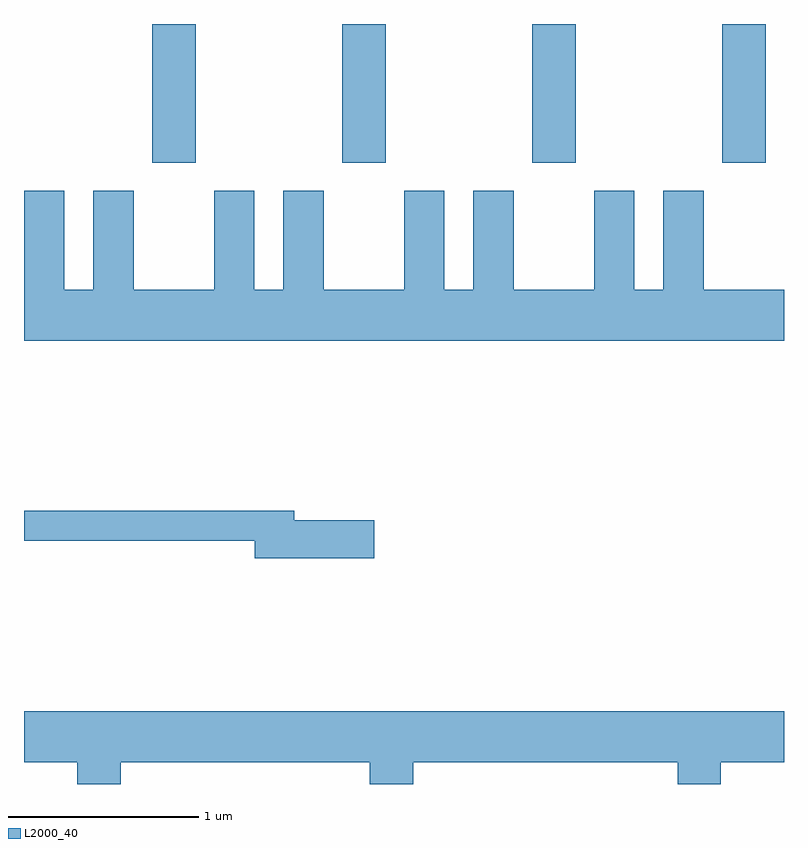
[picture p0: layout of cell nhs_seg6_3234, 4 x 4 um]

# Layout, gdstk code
import gdstk
lib = gdstk.Library(unit=1e-6, precision=1e-09)
def R(c, l, rs):  # rectangles x0, y0, x1, y1
    for r in rs: c.add(gdstk.rectangle(r[:2], r[2:], *l))
def A(c, l, x, y, w, h, nx, ny, dx, dy):  # array of equal rectangles
    R(c, l, [(x+i*dx, y+j*dy, x+i*dx+w, y+j*dy+h) for i in range(nx) for j in range(ny)])
def P(c, l, *ps):  # polygons
    for p in ps: c.add(gdstk.Polygon(p, *l))
L2000_40 = (2000, 40)

nhs_seg6_3234 = lib.new_cell('nhs_seg6_3234')
A(nhs_seg6_3234, L2000_40, 284.286, 1535.431, 0.228, 0.731, 4, 1, 1, 0)
P(nhs_seg6_3234, L2000_40, [(287.611,1534.764),(287.189,1534.764),(287.189,1535.284),(286.976,1535.284),(286.976,1534.764),(286.824,1534.764),(286.824,1535.284),(286.611,1535.284),(286.611,1534.764),(286.189,1534.764),(286.189,1535.284),(285.976,1535.284),(285.976,1534.764),(285.824,1534.764),(285.824,1535.284),(285.611,1535.284),(285.611,1534.764),(285.189,1534.764),(285.189,1535.284),(284.976,1535.284),(284.976,1534.764),(284.824,1534.764),(284.824,1535.284),(284.611,1535.284),(284.611,1534.764),(284.189,1534.764),(284.189,1535.284),(283.976,1535.284),(283.976,1534.764),(283.824,1534.764),(283.824,1535.284),(283.611,1535.284),(283.611,1534.496),(287.611,1534.496)],
  [(285.454,1533.549),(285.034,1533.549),(285.034,1533.599),(283.611,1533.599),(283.611,1533.441),(284.826,1533.441),(284.826,1533.351),(285.454,1533.351)],
  [(284.119,1532.276),(285.431,1532.276),(285.431,1532.162),(285.659,1532.162),(285.659,1532.276),(287.051,1532.276),(287.051,1532.162),(287.279,1532.162),(287.279,1532.276),(287.611,1532.276),(287.611,1532.544),(283.611,1532.544),(283.611,1532.276),(283.891,1532.276),(283.891,1532.162),(284.119,1532.162)])

lib.write_gds('nhs_seg6_3234.gds')
